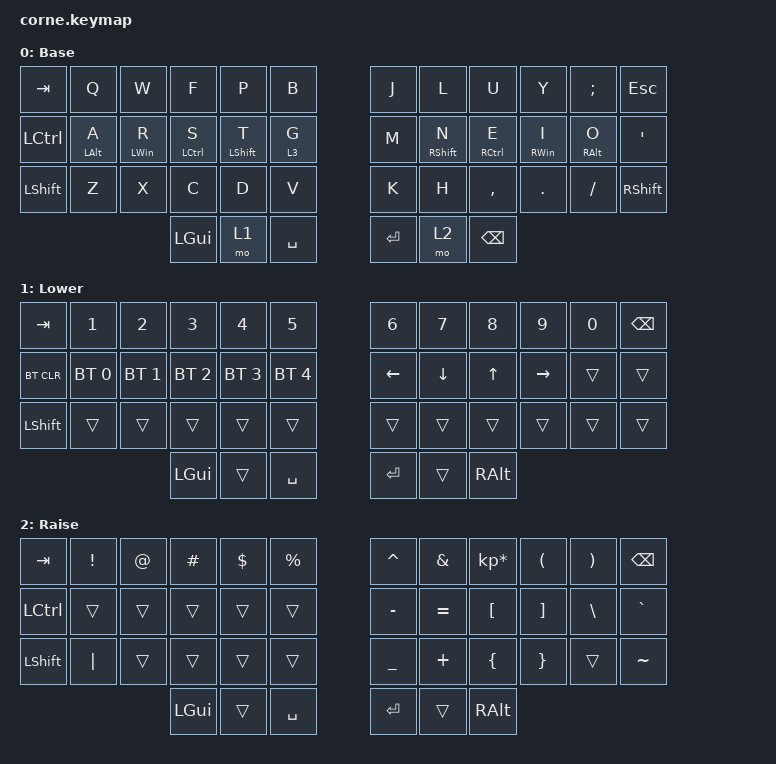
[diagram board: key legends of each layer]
/*
 * Copyright (c) 2020 The ZMK Contributors
 *
 * SPDX-License-Identifier: MIT
 */

#include <behaviors.dtsi>
#include <dt-bindings/zmk/bt.h>
#include <dt-bindings/zmk/keys.h>

/ {
    behaviors {
        HMShiftL: HMShiftL {
            compatible = "zmk,behavior-hold-tap";
            label = "HMSHIFTL";
            bindings = <&kp>, <&kp>;

            #binding-cells = <2>;
            tapping-term-ms = <200>;
            hold-while-undecided;
            hold-trigger-on-release;
            hold-trigger-key-positions = <0 1 2 3 4 5 12 13 14 15 16 17 24 25 26 27 28 29 36 37 38>;
        };

        HMShiftR: HMShiftR {
            compatible = "zmk,behavior-hold-tap";
            label = "HMSHIFTR";
            bindings = <&kp>, <&kp>;

            #binding-cells = <2>;
            tapping-term-ms = <200>;
            hold-while-undecided;
            hold-trigger-on-release;
            hold-trigger-key-positions = <6 7 8 9 10 11 18 19 20 21 22 23 30 31 32 33 34 35 39 40 41>;
        };

        HML: HML {
            compatible = "zmk,behavior-hold-tap";
            label = "HML";
            bindings = <&kp>, <&kp>;

            #binding-cells = <2>;
            tapping-term-ms = <200>;
            hold-while-undecided;
            hold-trigger-on-release;
            hold-trigger-key-positions = <0 1 2 3 4 5 12 13 14 15 16 17 24 25 26 27 28 29 36 37 38>;
            flavor = "tap-preferred";
        };

        HMR: HMR {
            compatible = "zmk,behavior-hold-tap";
            label = "HMR";
            bindings = <&kp>, <&kp>;

            #binding-cells = <2>;
            tapping-term-ms = <200>;
            hold-while-undecided;
            hold-trigger-on-release;
            hold-trigger-key-positions = <6 7 8 9 10 11 18 19 20 21 22 23 30 31 32 33 34 35 39 40 41>;
            flavor = "tap-preferred";
        };
    };

    keymap {
        compatible = "zmk,keymap";

        default_layer {
            // -----------------------------------------------------------------------------------------
            // |  TAB |  Q  |  W  |  E  |  R  |  T  |   |  Y  |  U   |  I  |  O  |  P  | BKSP |
            // | CTRL |  A  |  S  |  D  |  F  |  G  |   |  H  |  J   |  K  |  L  |  ;  |  '   |
            // | SHFT |  Z  |  X  |  C  |  V  |  B  |   |  N  |  M   |  ,  |  .  |  /  | ESC  |
            //                    | GUI | LWR | SPC |   | ENT | RSE  | ALT |

            display-name = "Base";
            bindings = <
&kp TAB    &kp Q            &kp W            &kp F         &kp P                   &kp B        &kp J    &kp L                    &kp U          &kp Y             &kp SEMICOLON     &kp ESCAPE
&kp LCTRL  &HMR LEFT_ALT A  &HMR LEFT_WIN R  &HMR LCTRL S  &HMShiftR LEFT_SHIFT T  &lt 3 G      &kp M    &HMShiftL RIGHT_SHIFT N  &HML RCTRL E   &HML RIGHT_WIN I  &HML RIGHT_ALT O  &kp SQT
&kp LSHFT  &kp Z            &kp X            &kp C         &kp D                   &kp V        &kp K    &kp H                    &kp COMMA      &kp DOT           &kp FSLH          &kp RIGHT_SHIFT
                                             &kp LGUI      &mo 1                   &kp SPACE    &kp RET  &mo 2                    &kp BACKSPACE
            >;
        };

        lower_layer {
            // -----------------------------------------------------------------------------------------
            // |  TAB |  1  |  2  |  3  |  4  |  5  |   |  6  |  7  |  8  |  9  |  0  | BKSP |
            // | BTCLR| BT1 | BT2 | BT3 | BT4 | BT5 |   | LFT | DWN |  UP | RGT |     |      |
            // | SHFT |     |     |     |     |     |   |     |     |     |     |     |      |
            //                    | GUI |     | SPC |   | ENT |     | ALT |

            display-name = "Lower";
            bindings = <
&kp TAB     &kp N1        &kp N2        &kp N3        &kp N4        &kp N5          &kp N6    &kp N7    &kp N8    &kp N9     &kp N0  &kp BSPC
&bt BT_CLR  &bt BT_SEL 0  &bt BT_SEL 1  &bt BT_SEL 2  &bt BT_SEL 3  &bt BT_SEL 4    &kp LEFT  &kp DOWN  &kp UP    &kp RIGHT  &trans  &trans
&kp LSHFT   &trans        &trans        &trans        &trans        &trans          &trans    &trans    &trans    &trans     &trans  &trans
                                        &kp LGUI      &trans        &kp SPACE       &kp RET   &trans    &kp RALT
            >;
        };

        raise_layer {
            // -----------------------------------------------------------------------------------------
            // |  TAB |  !  |  @  |  #  |  $  |  %  |   |  ^  |  &  |  *  |  (  |  )  | BKSP |
            // | CTRL |     |     |     |     |     |   |  -  |  =  |  [  |  ]  |  \  |  `   |
            // | SHFT |     |     |     |     |     |   |  _  |  +  |  {  |  }  | "|" |  ~   |
            //                    | GUI |     | SPC |   | ENT |     | ALT |

            display-name = "Raise";
            bindings = <
&kp TAB    &kp EXCL  &kp AT  &kp HASH  &kp DLLR  &kp PRCNT    &kp CARET  &kp AMPS   &kp KP_MULTIPLY  &kp LPAR  &kp RPAR  &kp BSPC
&kp LCTRL  &trans    &trans  &trans    &trans    &trans       &kp MINUS  &kp EQUAL  &kp LBKT         &kp RBKT  &kp BSLH  &kp GRAVE
&kp LSHFT  &kp PIPE  &trans  &trans    &trans    &trans       &kp UNDER  &kp PLUS   &kp LBRC         &kp RBRC  &trans    &kp TILDE
                             &kp LGUI  &trans    &kp SPACE    &kp RET    &trans     &kp RALT
            >;
        };

        extra_1 { status = "reserved"; };

        extra_2 { status = "reserved"; };

        extra_3 { status = "reserved"; };
    };
};
